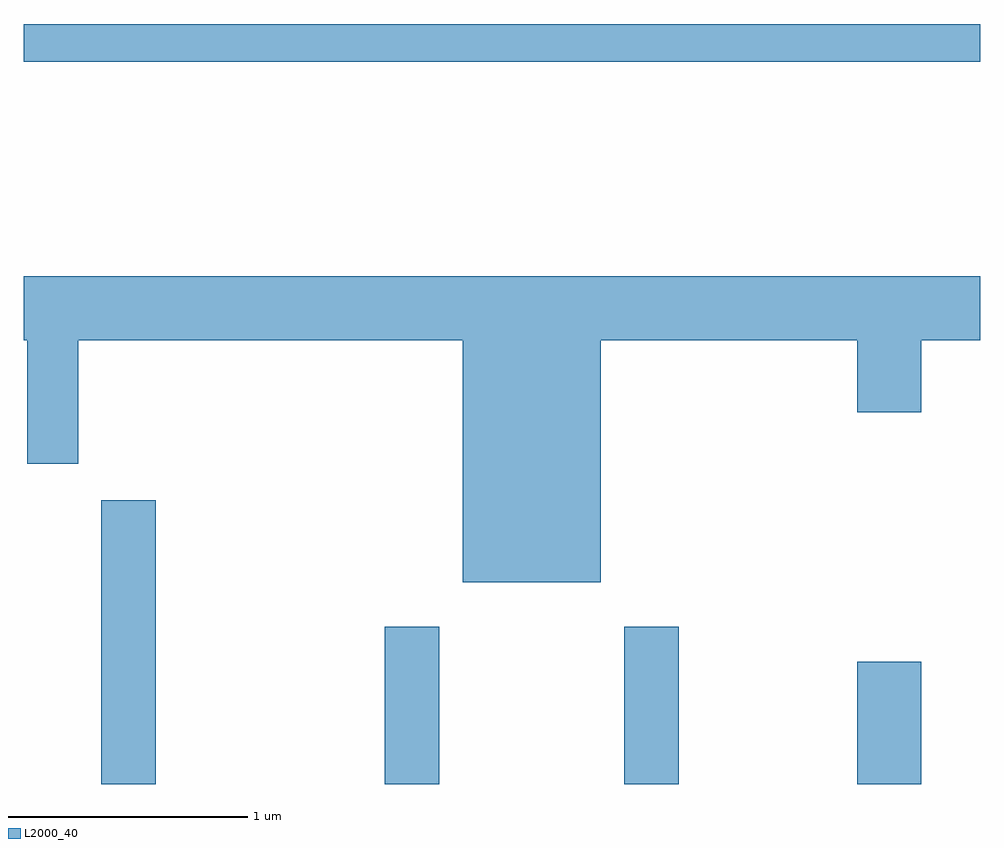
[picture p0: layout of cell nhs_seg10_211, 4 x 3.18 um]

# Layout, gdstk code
import gdstk
lib = gdstk.Library(unit=1e-6, precision=1e-09)
def R(c, l, rs):  # rectangles x0, y0, x1, y1
    for r in rs: c.add(gdstk.rectangle(r[:2], r[2:], *l))
def P(c, l, *ps):  # polygons
    for p in ps: c.add(gdstk.Polygon(p, *l))
L2000_40 = (2000, 40)

nhs_seg10_211 = lib.new_cell('nhs_seg10_211')
R(nhs_seg10_211, L2000_40, [(191.936,2096.522,192.164,2097.709), (193.121,2096.522,193.349,2097.179), (194.121,2096.522,194.349,2097.179), (195.096,2096.522,195.364,2097.034), (191.611,2099.541,195.611,2099.699)])
P(nhs_seg10_211, L2000_40, [(194.024,2098.376),(195.096,2098.376),(195.096,2098.076),(195.364,2098.076),(195.364,2098.376),(195.611,2098.376),(195.611,2098.644),(191.611,2098.644),(191.611,2098.376),(191.626,2098.376),(191.626,2097.861),(191.839,2097.861),(191.839,2098.376),(193.446,2098.376),(193.446,2097.366),(194.024,2097.366)])

lib.write_gds('nhs_seg10_211.gds')
